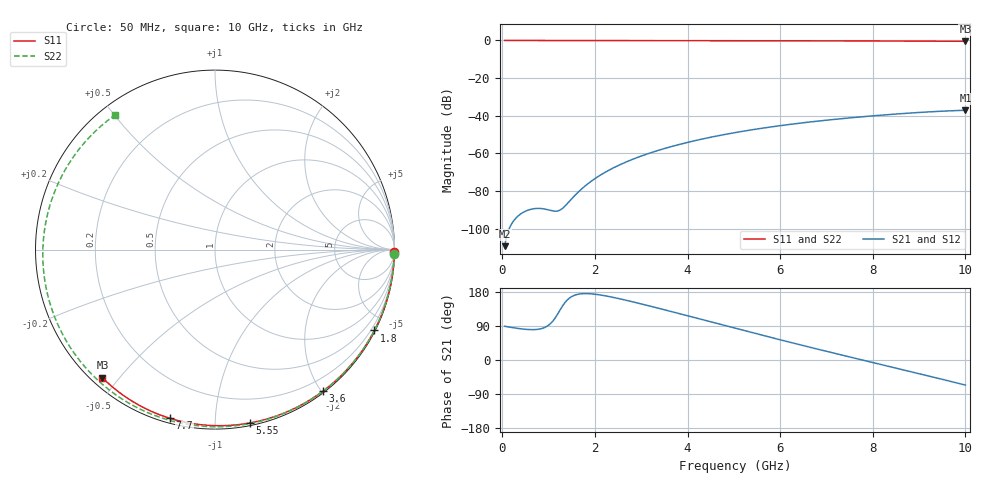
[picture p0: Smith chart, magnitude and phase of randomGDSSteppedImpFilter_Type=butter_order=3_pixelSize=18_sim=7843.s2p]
! freq	dB(S11)	phase(S11)	dB(S12)	phase(S12)
!  dB(S21)	phase(S21)	dB(S22)	phase(S22)
!S-par simulation data
#  GHz  S  DB  R 50
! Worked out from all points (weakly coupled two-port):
!   200 points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, 50 MHz to 10 GHz, reference 50 ohm
!   highest |S21| = -37.11 dB at 10 GHz (marker M1); lowest = -109.4 dB at 50 MHz (marker M2)
!   lowest |S11| = -0.4 dB at 10 GHz (marker M3), VSWR 39.29, Z = 1.53 - j22.6 ohm
!   |S11| at or under -10 dB: nowhere
!   |S22| runs from -0.6 to 0.0 dB; largest |S21 - S12| = 0
!   S11 on the Smith chart (normalised r, x): 50 MHz: open; 1.8 GHz: 0.04, -4.18; 3.6 GHz: 0.02, -2.02; 5.55 GHz: 0.02, -1.22; 7.7 GHz: 0.02, -0.77; 10 GHz: 0.03, -0.45
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0.05  -0.00 -0.8  -109.36 89.1  -109.36 89.1  -0.00 -1.4
0.4  -0.01 -6.0  -92.17 82.3  -92.17 82.3  -0.02 -11.3
0.8  -0.02 -12.1  -89.29 81.6  -89.29 81.6  -0.03 -22.5
1.2  -0.02 -18.0  -90.63 122.2  -90.63 122.2  -0.04 -33.5
1.65  -0.03 -24.7  -80.36 173.8  -80.36 173.8  -0.06 -45.7
1.75  -0.03 -26.2  -78.14 175.1  -78.14 175.1  -0.06 -48.4
1.8  -0.03 -26.9  -77.11 175.3  -77.11 175.3  -0.06 -49.7
2.1  -0.04 -31.3  -71.85 171.9  -71.85 171.9  -0.07 -57.5
2.45  -0.05 -36.4  -67.11 163.8  -67.11 163.8  -0.08 -66.5
2.9  -0.06 -42.8  -62.36 151.1  -62.36 151.1  -0.10 -77.7
3.4  -0.07 -49.8  -58.19 135.7  -58.19 135.7  -0.11 -89.7
3.6  -0.07 -52.6  -56.76 129.5  -56.76 129.5  -0.12 -94.4
4.3  -0.09 -62.2  -52.49 107.2  -52.49 107.2  -0.15 -110.4
5.05  -0.11 -72.1  -48.88 83.2  -48.88 83.2  -0.18 -126.7
5.55  -0.13 -78.6  -46.88 67.4  -46.88 67.4  -0.21 -137.3
6.15  -0.15 -86.2  -44.81 48.7  -44.81 48.7  -0.25 -149.8
6.7  -0.18 -92.9  -43.18 31.9  -43.18 31.9  -0.29 -161.2
7.2  -0.21 -99.0  -41.88 16.9  -41.88 16.9  -0.33 -171.5
7.7  -0.24 -104.9  -40.72 2.2  -40.72 2.2  -0.37 178.0
8.35  -0.29 -112.5  -39.39 -16.8  -39.39 -16.8  -0.43 164.1
9.15  -0.36 -121.7  -38.06 -40.4  -38.06 -40.4  -0.51 146.4
10  -0.44 -131.3  -37.11 -66.2  -37.11 -66.2  -0.60 126.5
